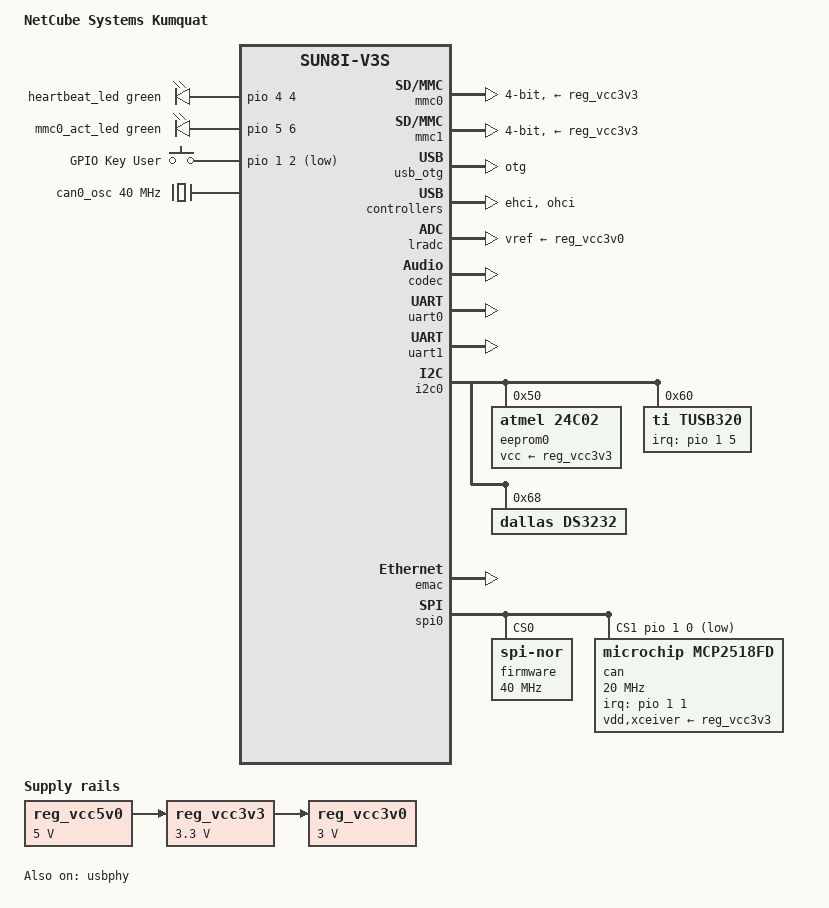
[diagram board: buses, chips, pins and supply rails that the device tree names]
// SPDX-License-Identifier: (GPL-2.0+ OR MIT)
/*
 * Copyright (C) 2025 Lukas Schmid <lukas.schmid@netcube.li>
 */

/dts-v1/;
#include "sun8i-v3s.dtsi"

#include <dt-bindings/input/input.h>
#include <dt-bindings/leds/common.h>
#include <dt-bindings/gpio/gpio.h>

/{
	model = "NetCube Systems Kumquat";
	compatible = "netcube,kumquat", "allwinner,sun8i-v3s";

	aliases {
		serial0 = &uart0;
		ethernet0 = &emac;
		rtc0 = &ds3232;
	};

	chosen {
		stdout-path = "serial0:115200n8";
	};

	leds {
		compatible = "gpio-leds";

		heartbeat_led {
			gpios = <&pio 4 4 GPIO_ACTIVE_HIGH>; /* PE4 */
			linux,default-trigger = "heartbeat";
			function = LED_FUNCTION_HEARTBEAT;
			color = <LED_COLOR_ID_GREEN>;
		};

		mmc0_act_led {
			gpios = <&pio 5 6 GPIO_ACTIVE_HIGH>; /* PF6 */
			linux,default-trigger = "mmc0";
			function = LED_FUNCTION_DISK;
			color = <LED_COLOR_ID_GREEN>;
		};
	};

	gpio-keys {
		compatible = "gpio-keys";
		autorepeat;

		key-user {
			label = "GPIO Key User";
			linux,code = <KEY_PROG1>;
			gpios = <&pio 1 2 (GPIO_ACTIVE_LOW | GPIO_PULL_UP)>; /* PB2 */
		};
	};

	/* K7805-1000R3 Switching Regulator supplied from main 12/24V terminal block */
	reg_vcc5v0: vcc5v0 {
		compatible = "regulator-fixed";
		regulator-name = "vcc5v0";
		regulator-min-microvolt = <5000000>;
		regulator-max-microvolt = <5000000>;
	};

	/* EA3036C Switching 3 Channel Regulator - Channel 2 */
	reg_vcc3v3: vcc3v3 {
		compatible = "regulator-fixed";
		regulator-name = "vcc3v3";
		regulator-min-microvolt = <3300000>;
		regulator-max-microvolt = <3300000>;
		vin-supply = <&reg_vcc5v0>;
	};

	/* XC6206-3.0 Linear Regualtor */
	reg_vcc3v0: vcc3v0 {
		compatible = "regulator-fixed";
		regulator-name = "vcc3v0";
		regulator-min-microvolt = <3000000>;
		regulator-max-microvolt = <3000000>;
		vin-supply = <&reg_vcc3v3>;
	};

	/* 40 MHz Crystal Oscillator on PCB */
	can0_osc: can0_osc {
		compatible = "fixed-clock";
		#clock-cells = <0>;
		clock-frequency  = <40000000>;
	};
};

&mmc0 {
	pinctrl-names = "default";
	pinctrl-0 = <&mmc0_pins>;
	vmmc-supply = <&reg_vcc3v3>;
	bus-width = <4>;
	broken-cd;
	status = "okay";
};

&mmc1 {
	pinctrl-names = "default";
	pinctrl-0 = <&mmc1_pins>;
	vmmc-supply = <&reg_vcc3v3>;
	bus-width = <4>;
	broken-cd;
	status = "okay";
};

&usb_otg {
	extcon = <&tusb320 0>;
	dr_mode = "otg";
	status = "okay";
};

&usbphy {
	usb0_id_det-gpios = <&pio 1 4 GPIO_ACTIVE_HIGH>; /* PB4 */
	status = "okay";
};

&ehci {
	status = "okay";
};

&ohci {
	status = "okay";
};

&lradc {
	vref-supply = <&reg_vcc3v0>;
	status = "okay";
};

&codec {
	allwinner,audio-routing =
		"Headphone", "HP",
		"Headphone", "HPCOM",
		"MIC1", "Mic",
		"Mic", "HBIAS";
	status = "okay";
};

&uart0 {
	pinctrl-0 = <&uart0_pb_pins>;
	pinctrl-names = "default";
	status = "okay";
};

&uart1 {
	pinctrl-0 = <&uart1_pe_pins>;
	pinctrl-names = "default";
	status = "okay";
};

&i2c0 {
	pinctrl-0 = <&i2c0_pins>;
	pinctrl-names = "default";
	status = "okay";

	eeprom0: eeprom@50 {
		compatible = "atmel,24c02";		/* actually it's a 24AA02E48 */
		pagesize = <16>;
		read-only;
		reg = <0x50>;
		vcc-supply = <&reg_vcc3v3>;

		#address-cells = <1>;
		#size-cells = <1>;

		eth0_macaddress: eth0_macaddress@FA {
			reg = <0xFA 0x06>;
		};
	};

	tusb320: tusb320@60 {
		compatible = "ti,tusb320";
		reg = <0x60>;
		interrupt-parent = <&pio>;
		interrupts = <1 5 IRQ_TYPE_EDGE_FALLING>;
	};

	ds3232: rtc@68 {
		compatible = "dallas,ds3232";
		reg = <0x68>;
	};
};

&emac {
	allwinner,leds-active-low;
	nvmem-cells = <&eth0_macaddress>;		/* custom nvmem reference */
	nvmem-cell-names = "mac-address";		/* see ethernet-controller.yaml */
	status = "okay";
};

&spi0 {
	#address-cells = <1>;
	#size-cells = <0>;
	pinctrl-names = "default";
	pinctrl-0 = <&spi0_pins>;
	cs-gpios = <0>, <&pio 1 0 GPIO_ACTIVE_LOW>; /* PB0 */
	status = "okay";

	flash@0 {
		#address-cells = <1>;
		#size-cells = <1>;
		reg = <0>;
		compatible = "jedec,spi-nor";
		label = "firmware";
		spi-max-frequency = <40000000>;
	};

	can@1 {
		compatible = "microchip,mcp2518fd";
		reg = <1>;
		clocks = <&can0_osc>;
		spi-max-frequency = <20000000>;
		interrupt-parent = <&pio>;
		interrupts = <1 1 IRQ_TYPE_LEVEL_LOW>;  /* PB1 */
		vdd-supply = <&reg_vcc3v3>;
		xceiver-supply = <&reg_vcc3v3>;
	};
};

&pio {
	vcc-pb-supply = <&reg_vcc3v3>;
	vcc-pc-supply = <&reg_vcc3v3>;
	vcc-pe-supply = <&reg_vcc3v3>;
	vcc-pf-supply = <&reg_vcc3v3>;
	vcc-pg-supply = <&reg_vcc3v3>;

	gpio-reserved-ranges = <0 32>, <42 22>, <68 28>, <96 32>, <153 7>, <167 25>, <198 26>;
	gpio-line-names = "", "", "", "", "", "", "", "", "", "", "", "", "", "", "", "", "", "", "", "", "", "", "", "", "", "", "", "", "", "", "", "", //PA
						"CAN_nCS", "CAN_nINT", "USER_SW", "PB3", "USB_ID", "USBC_nINT", "I2C0_SCL", "I2C0_SDA", "UART0_TX", "UART0_RX", "", "", "", "", "", "", "", "", "", "", "", "", "", "", "", "", "", "", "", "", "", "", //PB
						"SPI_MISO", "SPI_SCK", "FLASH_nCS", "SPI_MOSI", "", "", "", "", "", "", "", "", "", "", "", "", "", "", "", "", "", "", "", "", "", "", "", "", "", "", "", "", //PC
						"", "", "", "", "", "", "", "", "", "", "", "", "", "", "", "", "", "", "", "", "", "", "", "", "", "", "", "", "", "", "", "", //PD
						"Q12", "Q11", "Q10", "Q9", "LED_SYS0", "I1", "Q1", "Q2", "I2", "I3", "Q3", "Q4", "I4", "I5", "Q5", "Q6", "I6", "I7", "Q7", "Q8", "I8", "UART1_TXD", "UART1_RXD", "ESP_nRST", "ESP_nBOOT", "", "", "", "", "", "", "", //PE
						"SD_D1", "SD_D0", "SD_CLK", "SD_CMD", "SD_D3", "SD_D2", "LED_SYS1", "", "", "", "", "", "", "", "", "", "", "", "", "", "", "", "", "", "", "", "", "", "", "", "", "", //PF
						"ESP_CLK", "ESP_CMD", "ESP_D0", "ESP_D1", "ESP_D2", "ESP_D3", "", "", "", "", "", "", "", "", "", "", "", "", "", "", "", "", "", "", "", "", "", "", "", "", "", ""; //PG
};
